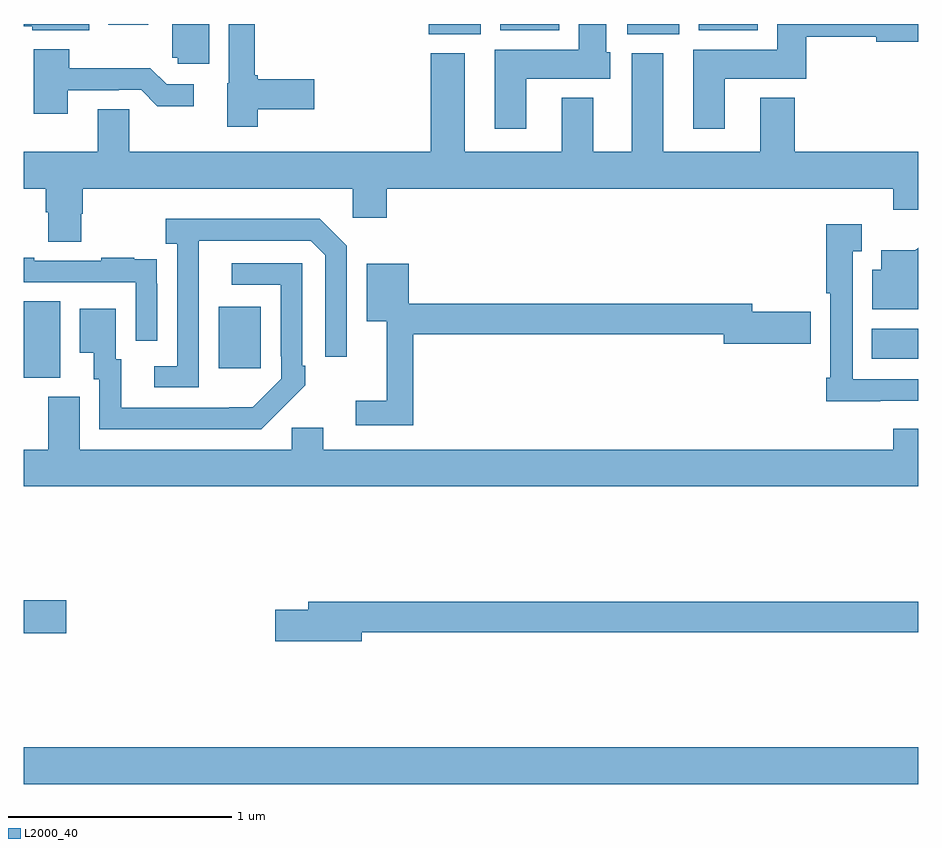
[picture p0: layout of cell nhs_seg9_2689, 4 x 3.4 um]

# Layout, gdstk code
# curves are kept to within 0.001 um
import gdstk
lib = gdstk.Library(unit=1e-6, precision=1e-09)
def R(c, l, rs):  # rectangles x0, y0, x1, y1
    for r in rs: c.add(gdstk.rectangle(r[:2], r[2:], *l))
def P(c, l, *ps):  # polygons
    for p in ps: c.add(gdstk.Polygon(p, *l))
L2000_40 = (2000, 40)

nhs_seg9_2689 = lib.new_cell('nhs_seg9_2689')
R(nhs_seg9_2689, L2000_40, [(265,1183.1,269,1183.264), (265,1183.775,265.189,1183.922), (265,1184.917,265.162,1185.26), (265.871,1184.961,266.059,1185.235), (268.793,1185.002,269,1185.136), (266.81,1186.454,267.043,1186.5), (267.698,1186.454,267.931,1186.5), (267.131,1186.472,267.394,1186.5), (268.019,1186.472,268.282,1186.5), (265.377,1186.496,265.555,1186.5)])
P(nhs_seg9_2689, L2000_40, [(265.828,1186.5),(265.664,1186.5),(265.664,1186.35),(265.689,1186.35),(265.689,1186.323),(265.828,1186.323)],
  [(268.135,1186.256),(268.5,1186.256),(268.5,1186.444),(268.814,1186.444),(268.814,1186.421),(269,1186.421),(269,1186.5),(268.37,1186.5),(268.37,1186.384),(267.995,1186.384),(267.995,1186.032),(268.135,1186.032)],
  [(267.247,1186.256),(267.622,1186.256),(267.622,1186.374),(267.604,1186.374),(267.604,1186.5),(267.482,1186.5),(267.482,1186.384),(267.107,1186.384),(267.107,1186.032),(267.247,1186.032)],
  [(266.046,1186.118),(266.299,1186.118),(266.299,1186.253),(266.046,1186.253),(266.046,1186.271),(266.033,1186.271),(266.033,1186.5),(265.917,1186.5),(265.917,1186.236),(265.91,1186.236),(265.91,1186.04),(266.046,1186.04)],
  [(265.292,1186.5),(265,1186.5),(265,1186.49),(265.038,1186.49),(265.038,1186.472),(265.292,1186.472)],
  [(265.195,1186.203),(265.424,1186.203),(265.424,1186.206),(265.524,1186.206),(265.597,1186.133),(265.759,1186.133),(265.759,1186.23),(265.638,1186.23),(265.565,1186.303),(265.203,1186.303),(265.203,1186.387),(265.043,1186.387),(265.043,1186.098),(265.195,1186.098)],
  [(265.257,1185.651),(265.262,1185.651),(265.262,1185.764),(266.472,1185.764),(266.472,1185.633),(266.624,1185.633),(266.624,1185.764),(268.889,1185.764),(268.889,1185.669),(269,1185.669),(269,1185.928),(268.448,1185.928),(268.448,1186.171),(268.295,1186.171),(268.295,1185.928),(267.859,1185.928),(267.859,1186.369),(267.719,1186.369),(267.719,1185.928),(267.547,1185.928),(267.547,1186.171),(267.407,1186.171),(267.407,1185.928),(266.971,1185.928),(266.971,1186.369),(266.819,1186.369),(266.819,1185.928),(265.47,1185.928),(265.47,1186.118),(265.331,1186.118),(265.331,1185.928),(265,1185.928),(265,1185.764),(265.097,1185.764),(265.097,1185.658),(265.109,1185.658),(265.109,1185.526),(265.257,1185.526)],
  [(265.782,1185.331),(265.783,1185.531),(266.283,1185.531),(266.349,1185.465),(266.349,1185.012),(266.445,1185.012),(266.445,1185.507),(266.324,1185.628),(265.635,1185.628),(265.635,1185.518),(265.686,1185.518),(265.686,1184.97),(265.584,1184.97),(265.584,1184.874),(265.782,1184.874)],
  [(268.83,1184.814),(269,1184.814),(269,1184.91),(268.708,1184.91),(268.708,1185.483),(268.747,1185.483),(268.747,1185.604),(268.59,1185.604),(268.59,1185.295),(268.607,1185.295),(268.607,1184.917),(268.59,1184.917),(268.59,1184.813),(268.83,1184.813)],
  [(269,1185.5),(268.987,1185.487),(268.835,1185.487),(268.835,1185.4),(268.796,1185.4),(268.796,1185.224),(269,1185.224)],
  [(265.596,1185.338),(265.595,1185.338),(265.595,1185.447),(265.493,1185.447),(265.493,1185.454),(265.345,1185.454),(265.345,1185.441),(265.045,1185.441),(265.045,1185.454),(265,1185.454),(265,1185.345),(265.5,1185.345),(265.5,1185.084),(265.596,1185.084)],
  [(266.153,1184.779),(266.154,1184.778),(266.259,1184.883),(266.259,1184.971),(266.244,1184.971),(266.244,1185.429),(265.929,1185.429),(265.929,1185.333),(266.148,1185.333),(266.148,1185.013),(266.151,1185.013),(266.151,1184.913),(266.023,1184.785),(265.435,1184.784),(265.435,1185),(265.411,1185),(265.411,1185.226),(265.25,1185.226),(265.25,1185.029),(265.313,1185.029),(265.313,1184.91),(265.338,1184.91),(265.338,1184.688),(266.062,1184.688)],
  [(266.741,1185.112),(268.13,1185.112),(268.13,1185.07),(268.519,1185.07),(268.519,1185.212),(268.258,1185.212),(268.258,1185.248),(266.721,1185.248),(266.721,1185.427),(266.534,1185.427),(266.534,1185.17),(266.624,1185.17),(266.624,1184.815),(266.484,1184.815),(266.484,1184.706),(266.741,1184.706)],
  [(269,1184.689),(268.889,1184.689),(268.889,1184.596),(266.338,1184.596),(266.338,1184.694),(266.199,1184.694),(266.199,1184.596),(265.249,1184.596),(265.249,1184.832),(265.109,1184.832),(265.109,1184.596),(265,1184.596),(265,1184.432),(269,1184.432)],
  [(266.512,1183.78),(269,1183.78),(269,1183.916),(266.273,1183.916),(266.273,1183.88),(266.124,1183.88),(266.124,1183.738),(266.512,1183.738)])

lib.write_gds('nhs_seg9_2689.gds')
